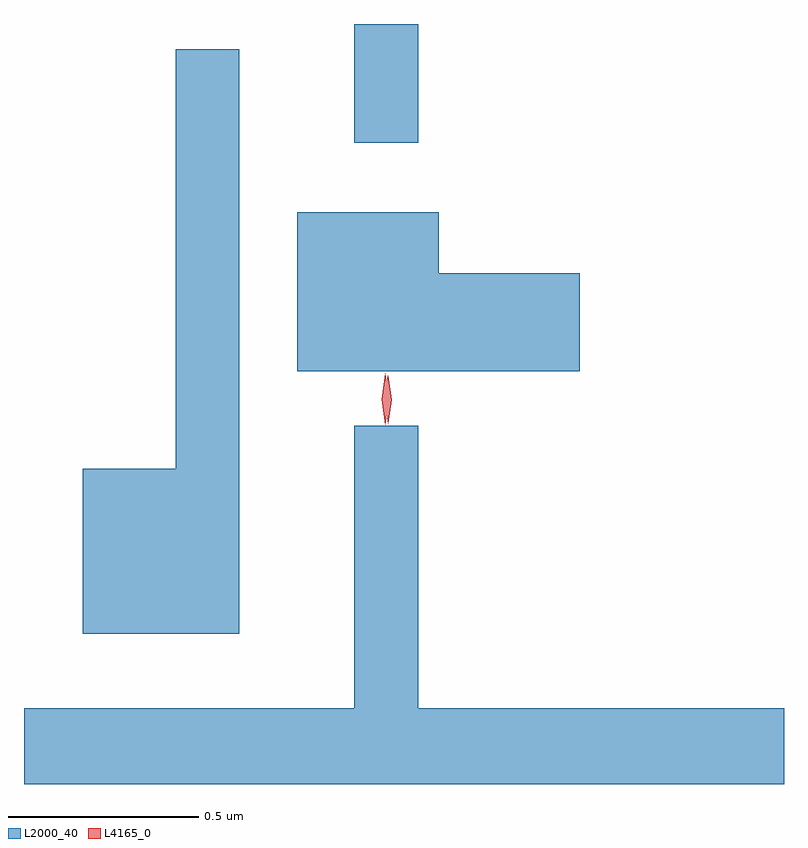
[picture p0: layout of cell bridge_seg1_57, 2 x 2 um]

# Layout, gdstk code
import gdstk
lib = gdstk.Library(unit=1e-6, precision=1e-09)
def R(c, l, rs):  # rectangles x0, y0, x1, y1
    for r in rs: c.add(gdstk.rectangle(r[:2], r[2:], *l))
def P(c, l, *ps):  # polygons
    for p in ps: c.add(gdstk.Polygon(p, *l))
L2000_40 = (2000, 40)
L4165_0 = (4165, 0)

bridge_seg1_57 = lib.new_cell('bridge_seg1_57')
R(bridge_seg1_57, L2000_40, [(1907.281,854.713,1907.449,855.025)])
P(bridge_seg1_57, L2000_40, [(1906.979,854.958),(1906.811,854.958),(1906.811,853.854),(1906.566,853.854),(1906.566,853.421),(1906.979,853.421)],
  [(1907.874,854.369),(1907.504,854.369),(1907.504,854.529),(1907.131,854.529),(1907.131,854.111),(1907.874,854.111)],
  [(1908.412,853.224),(1907.449,853.224),(1907.449,853.968),(1907.281,853.968),(1907.281,853.224),(1906.412,853.224),(1906.412,853.025),(1908.412,853.025)])
P(bridge_seg1_57, L4165_0, [(1907.362,853.97),(1907.353,854.038),(1907.362,854.105),(1907.362,854.106),(1907.363,854.105),(1907.372,854.038),(1907.363,853.97),(1907.363,853.97)],
  [(1907.371,853.973),(1907.37,853.974),(1907.36,854.036),(1907.369,854.099),(1907.369,854.1),(1907.37,854.099),(1907.38,854.036),(1907.371,853.974)])

lib.write_gds('bridge_seg1_57.gds')
